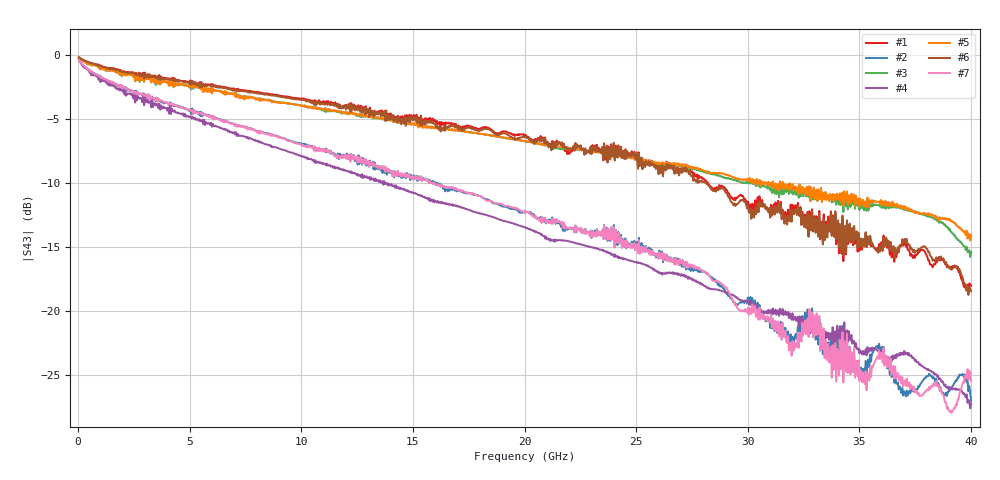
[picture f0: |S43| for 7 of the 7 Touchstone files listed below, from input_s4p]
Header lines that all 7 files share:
! CHANNEL.1
! TR.MEASUREMENT
! CORRECTED.DATA
! RF.CORRECTION: FULL.FOUR.PORT.CAL.PORT.1.2.3.4
! AVERAGING.OFF
! IF.BANDWIDTH: 1KHZ
! SWEEPTYPE:  FREQ.SWEEP(Linear)
! Reference Plane Port Info
! PORT:  PORT1  PORT2  PORT3  PORT4
! DISTANCE:  0  m  0  m  0  m  0  m
! TIME:  0  s  0  s  0  s  0  s
! PHASE.OFFSET:  0 °  0 °  0 °  0 °
! LOSS:  0  dB  0  dB  0  dB  0  dB
! REF.LOSS:  0  dB  0  dB  0  dB  0  dB
! REF.FREQ:  0  Hz  0  Hz  0  Hz  0  Hz
! Power Info
! POWER:  -10  dBm  -10  dBm  -10  dBm  -10  dBm
! EFF.POWER:  -10  dBm  -10  dBm  -10  dBm  -10  dBm
# GHZ S RI R 50.0
! FREQ.GHZ  S11RE  S11IM  S12RE  S12IM  S13RE  S13IM  S14RE  S14IM
!  S21RE  S21IM  S22RE  S22IM  S23RE  S23IM  S24RE  S24IM
!  S31RE  S31IM  S32RE  S32IM  S33RE  S33IM  S34RE  S34IM
!  S41RE  S41IM  S42RE  S42IM  S43RE  S43IM  S44RE  S44IM
!; PortSelection: Port_1234
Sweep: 40 MHz to 40 GHz
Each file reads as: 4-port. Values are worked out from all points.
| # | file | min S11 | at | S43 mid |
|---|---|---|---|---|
| 1 | 1_L3_4.s4p | -54.7 dB | 10.08 GHz | -6.2 dB at 20.04 GHz |
| 2 | 1_L3_8.s4p | -41.3 dB | 1.6 GHz | -12.2 dB at 20.04 GHz |
| 3 | 1_L5_4.s4p | -38.0 dB | 20.84 GHz | -6.7 dB at 20.04 GHz |
| 4 | 1_L5_8.s4p | -41.4 dB | 16.52 GHz | -13.5 dB at 20.04 GHz |
| 5 | 1_L14_4.s4p | -53.3 dB | 21.12 GHz | -6.7 dB at 20.04 GHz |
| 6 | 1_L16_4.s4p | -50.5 dB | 1.76 GHz | -6.4 dB at 20.04 GHz |
| 7 | 1_L16_8.s4p | -44.2 dB | 6.92 GHz | -12.2 dB at 20.04 GHz |
